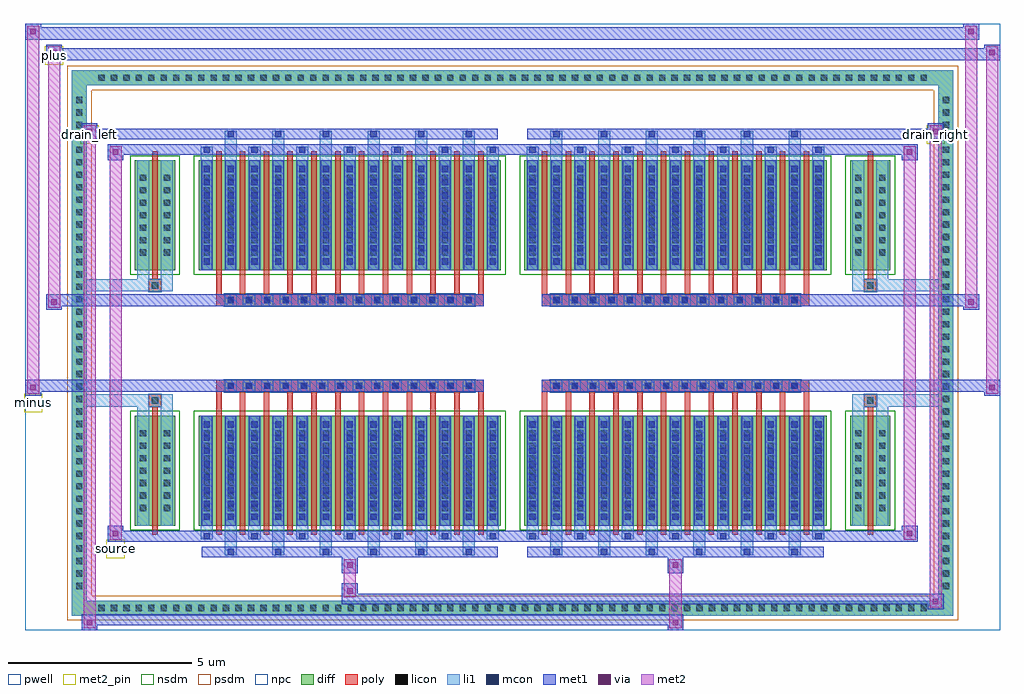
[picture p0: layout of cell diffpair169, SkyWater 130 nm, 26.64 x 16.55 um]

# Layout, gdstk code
import gdstk
lib = gdstk.Library(unit=1e-6, precision=5e-09)
def R(c, l, rs):  # rectangles x0, y0, x1, y1
    for r in rs: c.add(gdstk.rectangle(r[:2], r[2:], *l))
def A(c, l, x, y, w, h, nx, ny, dx, dy):  # array of equal rectangles
    R(c, l, [(x+i*dx, y+j*dy, x+i*dx+w, y+j*dy+h) for i in range(nx) for j in range(ny)])
def P(c, l, *ps):  # polygons
    for p in ps: c.add(gdstk.Polygon(p, *l))
pwell = (64, 44)
diff = (65, 20)
poly = (66, 20)
licon = (66, 44)
li1 = (67, 20)
mcon = (67, 44)
met1 = (68, 20)
via = (68, 44)
met2_pin = (69, 16)
met2 = (69, 20)
nsdm = (93, 44)
psdm = (94, 20)
npc = (95, 20)

diffpair169 = lib.new_cell('diffpair169')
R(diffpair169, pwell, [(-13.3,-7.84,13.3,8.71), (-10.62,-6.03,-0.01,-0.805), (0.01,-6.03,10.62,-0.805), (-10.62,0.805,-0.01,6.03), (0.01,0.805,10.62,6.03)])
A(diffpair169, diff, -11.425, -7.44, 0.41, 0.41, 67, 2, 0.34, 14.47)
A(diffpair169, diff, -12.03, -6.835, 0.41, 0.41, 1, 40, 0, 0.34)
A(diffpair169, diff, 11.62, -6.835, 0.41, 0.41, 1, 40, 0, 0.34)
R(diffpair169, diff, [(-11.425,-7.44,11.425,-7.03), (-12.03,-6.835,-11.62,6.835), (11.62,-6.835,12.03,6.835), (-10.31,-4.985,-9.21,-1.985), (-8.57,-4.985,-0.32,-1.985), (0.32,-4.985,8.57,-1.985), (9.21,-4.985,10.31,-1.985), (-10.31,1.985,-9.21,4.985), (-8.57,1.985,-0.32,4.985), (0.32,1.985,8.57,4.985), (9.21,1.985,10.31,4.985), (-11.425,7.03,11.425,7.44)])
P(diffpair169, diff, [(12.03,7.44),(-12.03,7.44),(-12.03,-7.03),(-11.62,-7.03),(-11.62,7.03),(11.62,7.03),(11.62,-7.03),(-11.62,-7.03),(-12.03,-7.03),(-12.03,-7.44),(12.03,-7.44)])
A(diffpair169, poly, -8.095, -5.235, 0.15, 3.5, 12, 2, 0.65, 6.97)
A(diffpair169, poly, 0.795, -5.235, 0.15, 3.5, 12, 2, 0.65, 6.97)
A(diffpair169, poly, -8.095, -1.735, 0.15, 0.4, 12, 2, 0.65, 3.07)
A(diffpair169, poly, 0.795, -1.735, 0.15, 0.4, 12, 2, 0.65, 3.07)
A(diffpair169, poly, -7.86, -1.335, 0.33, 0.33, 14, 2, 0.5, 2.34)
A(diffpair169, poly, 1.03, -1.335, 0.33, 0.33, 14, 2, 0.5, 2.34)
R(diffpair169, poly, [(-9.835,-5.235,-9.685,-1.735), (9.685,-5.235,9.835,-1.735), (-9.925,-1.735,-9.595,-1.405), (-9.925,-1.735,-9.595,-1.405), (9.595,-1.735,9.925,-1.405), (9.595,-1.735,9.925,-1.405), (-8.095,-1.335,-0.795,-1.005), (0.795,-1.335,8.095,-1.005), (-8.095,1.005,-0.795,1.335), (0.795,1.005,8.095,1.335), (-9.925,1.405,-9.595,1.735), (-9.925,1.405,-9.595,1.735), (9.595,1.405,9.925,1.735), (9.595,1.405,9.925,1.735), (-9.835,1.735,-9.685,5.235), (9.685,1.735,9.835,5.235)])
A(diffpair169, licon, -11.305, -7.32, 0.17, 0.17, 67, 2, 0.34, 14.47)
A(diffpair169, licon, -11.91, -6.715, 0.17, 0.17, 1, 40, 0, 0.34)
A(diffpair169, licon, 11.74, -6.715, 0.17, 0.17, 1, 40, 0, 0.34)
A(diffpair169, licon, -10.17, -4.59, 0.17, 0.17, 1, 7, 0, 0.34)
A(diffpair169, licon, -9.52, -4.59, 0.17, 0.17, 1, 7, 0, 0.34)
A(diffpair169, licon, -8.43, -4.59, 0.17, 0.17, 13, 7, 0.65, 0.34)
A(diffpair169, licon, 0.46, -4.59, 0.17, 0.17, 13, 7, 0.65, 0.34)
A(diffpair169, licon, 9.35, -4.59, 0.17, 0.17, 1, 7, 0, 0.34)
A(diffpair169, licon, 10, -4.59, 0.17, 0.17, 1, 7, 0, 0.34)
A(diffpair169, licon, -7.78, -1.255, 0.17, 0.17, 14, 2, 0.5, 2.34)
A(diffpair169, licon, 1.11, -1.255, 0.17, 0.17, 14, 2, 0.5, 2.34)
A(diffpair169, licon, -10.17, 2.38, 0.17, 0.17, 1, 7, 0, 0.34)
A(diffpair169, licon, -9.52, 2.38, 0.17, 0.17, 1, 7, 0, 0.34)
A(diffpair169, licon, -8.43, 2.38, 0.17, 0.17, 13, 7, 0.65, 0.34)
A(diffpair169, licon, 0.46, 2.38, 0.17, 0.17, 13, 7, 0.65, 0.34)
A(diffpair169, licon, 9.35, 2.38, 0.17, 0.17, 1, 7, 0, 0.34)
A(diffpair169, licon, 10, 2.38, 0.17, 0.17, 1, 7, 0, 0.34)
R(diffpair169, licon, [(-9.845,-1.655,-9.675,-1.485), (9.675,-1.655,9.845,-1.485), (-9.845,1.485,-9.675,1.655), (9.675,1.485,9.845,1.655)])
A(diffpair169, li1, -11.385, -7.4, 0.33, 0.33, 67, 2, 0.34, 14.47)
A(diffpair169, li1, -11.99, -6.795, 0.33, 0.33, 1, 40, 0, 0.34)
A(diffpair169, li1, 11.66, -6.795, 0.33, 0.33, 1, 40, 0, 0.34)
A(diffpair169, li1, -7.86, -5.79, 0.33, 0.805, 6, 2, 1.3, 10.775)
A(diffpair169, li1, -7.78, -5.79, 0.17, 0.17, 6, 2, 1.3, 11.41)
A(diffpair169, li1, 1.03, -5.79, 0.33, 0.805, 6, 2, 1.3, 10.775)
A(diffpair169, li1, 1.11, -5.79, 0.17, 0.17, 6, 2, 1.3, 11.41)
A(diffpair169, li1, -8.51, -5.36, 0.33, 0.375, 7, 2, 1.3, 10.345)
A(diffpair169, li1, -8.43, -5.36, 0.17, 0.17, 7, 2, 1.3, 10.55)
A(diffpair169, li1, 0.38, -5.36, 0.33, 0.375, 7, 2, 1.3, 10.345)
A(diffpair169, li1, 0.46, -5.36, 0.17, 0.17, 7, 2, 1.3, 10.55)
A(diffpair169, li1, -8.51, -4.985, 0.33, 3, 13, 2, 0.65, 6.97)
A(diffpair169, li1, 0.38, -4.985, 0.33, 3, 13, 2, 0.65, 6.97)
A(diffpair169, li1, -8.43, -4.83, 0.17, 0.17, 13, 8, 0.65, 0.36)
A(diffpair169, li1, -8.43, -4.83, 0.17, 2.69, 13, 2, 0.65, 6.97)
A(diffpair169, li1, 0.46, -4.83, 0.17, 0.17, 13, 8, 0.65, 0.36)
A(diffpair169, li1, 0.46, -4.83, 0.17, 2.69, 13, 2, 0.65, 6.97)
A(diffpair169, li1, -10.25, -4.67, 0.33, 0.33, 1, 7, 0, 0.34)
A(diffpair169, li1, -9.6, -4.67, 0.33, 0.33, 1, 7, 0, 0.34)
A(diffpair169, li1, -8.51, -4.67, 0.33, 0.33, 13, 7, 0.65, 0.34)
A(diffpair169, li1, 0.38, -4.67, 0.33, 0.33, 13, 7, 0.65, 0.34)
A(diffpair169, li1, 9.27, -4.67, 0.33, 0.33, 1, 7, 0, 0.34)
A(diffpair169, li1, 9.92, -4.67, 0.33, 0.33, 1, 7, 0, 0.34)
A(diffpair169, li1, -7.86, -1.335, 0.33, 0.33, 14, 2, 0.5, 2.34)
A(diffpair169, li1, 1.03, -1.335, 0.33, 0.33, 14, 2, 0.5, 2.34)
A(diffpair169, li1, -8.43, 2.14, 0.17, 0.17, 13, 8, 0.65, 0.36)
A(diffpair169, li1, 0.46, 2.14, 0.17, 0.17, 13, 8, 0.65, 0.36)
A(diffpair169, li1, -10.25, 2.3, 0.33, 0.33, 1, 7, 0, 0.34)
A(diffpair169, li1, -9.6, 2.3, 0.33, 0.33, 1, 7, 0, 0.34)
A(diffpair169, li1, -8.51, 2.3, 0.33, 0.33, 13, 7, 0.65, 0.34)
A(diffpair169, li1, 0.38, 2.3, 0.33, 0.33, 13, 7, 0.65, 0.34)
A(diffpair169, li1, 9.27, 2.3, 0.33, 0.33, 1, 7, 0, 0.34)
A(diffpair169, li1, 9.92, 2.3, 0.33, 0.33, 1, 7, 0, 0.34)
R(diffpair169, li1, [(-12.03,-7.44,-11.62,-7.03), (-12.03,-7.44,-11.62,-7.03), (-11.62,-7.44,11.62,-7.03), (11.62,-7.44,12.03,-7.03), (11.62,-7.44,12.03,-7.03), (-12.03,-7.03,-11.62,7.03), (11.62,-7.03,12.03,7.03), (-10.25,-4.985,-9.92,-1.985), (-9.6,-4.985,-9.27,-1.985), (9.27,-4.985,9.6,-1.985), (9.92,-4.985,10.25,-1.985), (-10.25,-1.985,-9.92,-1.405), (-9.6,-1.985,-9.27,-1.405), (9.27,-1.985,9.6,-1.405), (9.92,-1.985,10.25,-1.405), (-12.03,-1.735,-9.925,-1.405), (-10.25,-1.735,-9.925,-1.405), (-9.925,-1.735,-9.595,-1.405), (-9.595,-1.735,-9.27,-1.405), (9.27,-1.735,9.595,-1.405), (9.595,-1.735,9.925,-1.405), (9.595,-1.735,12.03,-1.405), (9.925,-1.735,10.25,-1.405), (-12.03,1.405,-9.925,1.735), (-10.25,1.405,-9.925,1.735), (-10.25,1.405,-9.92,1.985), (-9.925,1.405,-9.595,1.735), (-9.6,1.405,-9.27,1.985), (-9.595,1.405,-9.27,1.735), (9.27,1.405,9.595,1.735), (9.27,1.405,9.6,1.985), (9.595,1.405,9.925,1.735), (9.595,1.405,12.03,1.735), (9.92,1.405,10.25,1.985), (9.925,1.405,10.25,1.735), (-10.25,1.985,-9.92,4.985), (-9.6,1.985,-9.27,4.985), (9.27,1.985,9.6,4.985), (9.92,1.985,10.25,4.985), (-12.03,7.03,-11.62,7.44), (-12.03,7.03,-11.62,7.44), (-11.62,7.03,11.62,7.44), (11.62,7.03,12.03,7.44), (11.62,7.03,12.03,7.44)])
A(diffpair169, mcon, -7.78, -5.79, 0.17, 0.17, 6, 2, 1.3, 11.41)
A(diffpair169, mcon, 1.11, -5.79, 0.17, 0.17, 6, 2, 1.3, 11.41)
A(diffpair169, mcon, -8.43, -5.36, 0.17, 0.17, 7, 2, 1.3, 10.55)
A(diffpair169, mcon, 0.46, -5.36, 0.17, 0.17, 7, 2, 1.3, 10.55)
A(diffpair169, mcon, -8.43, -4.83, 0.17, 0.17, 13, 8, 0.65, 0.36)
A(diffpair169, mcon, 0.46, -4.83, 0.17, 0.17, 13, 8, 0.65, 0.36)
A(diffpair169, mcon, -7.78, -1.255, 0.17, 0.17, 14, 2, 0.5, 2.34)
A(diffpair169, mcon, 1.11, -1.255, 0.17, 0.17, 14, 2, 0.5, 2.34)
A(diffpair169, mcon, -8.43, 2.14, 0.17, 0.17, 13, 8, 0.65, 0.36)
A(diffpair169, mcon, 0.46, 2.14, 0.17, 0.17, 13, 8, 0.65, 0.36)
A(diffpair169, met1, -7.84, -5.85, 0.29, 0.29, 6, 2, 1.3, 11.41)
A(diffpair169, met1, 1.05, -5.85, 0.29, 0.29, 6, 2, 1.3, 11.41)
A(diffpair169, met1, -8.49, -5.42, 0.29, 0.29, 7, 2, 1.3, 10.55)
A(diffpair169, met1, 0.4, -5.42, 0.29, 0.29, 7, 2, 1.3, 10.55)
A(diffpair169, met1, -8.49, -4.985, 0.29, 3, 13, 2, 0.65, 6.97)
A(diffpair169, met1, 0.4, -4.985, 0.29, 3, 13, 2, 0.65, 6.97)
A(diffpair169, met1, -8.49, -4.89, 0.29, 0.29, 13, 8, 0.65, 0.36)
A(diffpair169, met1, 0.4, -4.89, 0.29, 0.29, 13, 8, 0.65, 0.36)
A(diffpair169, met1, -7.84, -1.315, 0.29, 0.29, 14, 2, 0.5, 2.34)
A(diffpair169, met1, 1.05, -1.315, 0.29, 0.29, 14, 2, 0.5, 2.34)
A(diffpair169, met1, -8.49, 2.08, 0.29, 0.29, 13, 8, 0.65, 0.36)
A(diffpair169, met1, 0.4, 2.08, 0.29, 0.29, 13, 8, 0.65, 0.36)
R(diffpair169, met1, [(-11.76,-7.84,-11.33,-7.41), (4.23,-7.84,4.66,-7.41), (-11.76,-7.7,4.66,-7.41), (11.33,-7.27,11.76,-6.84), (-4.66,-7.13,11.76,-6.84), (-4.66,-6.99,-4.23,-6.56), (-4.66,-6.28,-4.23,-5.85), (4.23,-6.28,4.66,-5.85), (-8.49,-5.85,-0.4,-5.56), (0.4,-5.85,8.49,-5.56), (-11.05,-5.42,-10.62,-4.99), (-11.05,-5.42,-8.49,-5.13), (-8.49,-5.42,-0.4,-5.13), (-0.4,-5.42,0.4,-5.13), (0.4,-5.42,8.49,-5.13), (8.49,-5.42,11.05,-5.13), (10.62,-5.42,11.05,-4.99), (-13.3,-1.435,-12.87,-1.005), (12.87,-1.435,13.3,-1.005), (-13.3,-1.335,-0.795,-1.005), (-8.095,-1.335,-0.795,-1.005), (0.795,-1.335,8.095,-1.005), (0.795,-1.335,13.3,-1.005), (-12.73,0.905,-12.3,1.335), (12.3,0.905,12.73,1.335), (-12.73,1.005,-8.095,1.335), (-8.095,1.005,-0.795,1.335), (0.795,1.005,8.095,1.335), (8.095,1.005,12.73,1.335), (-11.05,4.99,-10.62,5.42), (10.62,4.99,11.05,5.42), (-11.05,5.13,-8.49,5.42), (-8.49,5.13,-0.4,5.42), (-0.4,5.13,0.4,5.42), (0.4,5.13,8.49,5.42), (8.49,5.13,11.05,5.42), (-11.76,5.56,-11.33,5.99), (-11.76,5.56,-8.49,5.85), (-8.49,5.56,-0.4,5.85), (0.4,5.56,8.49,5.85), (8.49,5.56,11.76,5.85), (11.33,5.56,11.76,5.99), (-12.73,7.71,-12.3,8.14), (-12.73,7.71,-10.62,8.04), (-10.62,7.71,10.62,8.04), (10.62,7.71,13.3,8.04), (12.87,7.71,13.3,8.14), (-13.3,8.28,-12.87,8.71), (-13.3,8.28,-10.62,8.61), (-10.62,8.28,10.62,8.61), (10.62,8.28,12.73,8.61), (12.3,8.28,12.73,8.71)])
R(diffpair169, via, [(-11.62,-7.7,-11.47,-7.55), (4.37,-7.7,4.52,-7.55), (11.47,-7.13,11.62,-6.98), (-4.52,-6.85,-4.37,-6.7), (-4.52,-6.14,-4.37,-5.99), (4.37,-6.14,4.52,-5.99), (-10.91,-5.28,-10.76,-5.13), (10.76,-5.28,10.91,-5.13), (-13.16,-1.295,-13.01,-1.145), (13.01,-1.295,13.16,-1.145), (-12.59,1.045,-12.44,1.195), (12.44,1.045,12.59,1.195), (-10.91,5.13,-10.76,5.28), (10.76,5.13,10.91,5.28), (-11.62,5.7,-11.47,5.85), (11.47,5.7,11.62,5.85), (-12.59,7.85,-12.44,8), (13.01,7.85,13.16,8), (-13.16,8.42,-13.01,8.57), (12.44,8.42,12.59,8.57)])
R(diffpair169, met2_pin, [(-11.085,-5.87,-10.585,-5.37), (-13.335,-1.885,-12.835,-1.385), (-11.795,5.44,-11.295,5.94), (11.295,5.44,11.795,5.94), (-12.765,7.59,-12.265,8.09)])
R(diffpair169, met2, [(-11.71,-7.79,-11.38,-7.46), (-11.71,-7.79,-11.38,5.94), (4.28,-7.79,4.61,-7.46), (4.28,-7.46,4.61,-6.23), (11.38,-7.22,11.71,-6.89), (11.38,-7.22,11.71,5.94), (-4.61,-6.94,-4.28,-6.61), (-4.61,-6.61,-4.28,-6.23), (-4.61,-6.23,-4.28,-5.9), (4.28,-6.23,4.61,-5.9), (-11,-5.37,-10.67,-5.04), (-11,-5.37,-10.67,5.37), (10.67,-5.37,11,-5.04), (10.67,-5.37,11,5.37), (-13.25,-1.385,-12.92,-1.055), (-13.25,-1.385,-12.92,8.66), (12.92,-1.385,13.25,-1.055), (12.92,-1.385,13.25,8.09), (-12.68,0.955,-12.35,1.285), (-12.68,0.955,-12.35,8.09), (12.35,0.955,12.68,1.285), (12.35,0.955,12.68,8.66), (-11,5.04,-10.67,5.37), (10.67,5.04,11,5.37), (-11.71,5.61,-11.38,5.94), (11.38,5.61,11.71,5.94), (-12.68,7.76,-12.35,8.09), (12.92,7.76,13.25,8.09), (-13.25,8.33,-12.92,8.66), (12.35,8.33,12.68,8.66)])
P(diffpair169, met2, [(13.25,-1.385),(13.25,-1.385),(13.25,-1.055),(13.25,-1.055)],
  [(13.25,7.76),(13.25,7.76),(13.25,8.09),(13.25,8.09)],
  [(-12.92,-1.385),(-12.92,-1.385),(-12.92,-1.055),(-12.92,-1.055)],
  [(-12.92,8.33),(-12.92,8.33),(-12.92,8.66),(-12.92,8.66)],
  [(12.68,0.955),(12.68,0.955),(12.68,1.285),(12.68,1.285)],
  [(12.68,8.33),(12.68,8.33),(12.68,8.66),(12.68,8.66)],
  [(-12.35,0.955),(-12.35,0.955),(-12.35,1.285),(-12.35,1.285)],
  [(-12.35,7.76),(-12.35,7.76),(-12.35,8.09),(-12.35,8.09)],
  [(-11.38,-7.79),(-11.38,-7.79),(-11.38,-7.46),(-11.38,-7.46)],
  [(-11.38,5.61),(-11.38,5.61),(-11.38,5.94),(-11.38,5.94)],
  [(11.71,-7.22),(11.71,-7.22),(11.71,-6.89),(11.71,-6.89)],
  [(11.71,5.61),(11.71,5.61),(11.71,5.94),(11.71,5.94)],
  [(-10.67,-5.37),(-10.67,-5.37),(-10.67,-5.04),(-10.67,-5.04)],
  [(-10.67,5.04),(-10.67,5.04),(-10.67,5.37),(-10.67,5.37)],
  [(11,-5.37),(11,-5.37),(11,-5.04),(11,-5.04)],
  [(11,5.04),(11,5.04),(11,5.37),(11,5.37)])
R(diffpair169, nsdm, [(-10.44,-5.115,-9.08,-1.855), (-8.7,-5.115,-0.19,-1.855), (0.19,-5.115,8.7,-1.855), (9.08,-5.115,10.44,-1.855), (-10.44,1.855,-9.08,5.115), (-8.7,1.855,-0.19,5.115), (0.19,1.855,8.7,5.115), (9.08,1.855,10.44,5.115)])
P(diffpair169, psdm, [(12.16,7.57),(-12.16,7.57),(-12.16,-6.9),(-11.49,-6.9),(-11.49,6.9),(11.49,6.9),(11.49,-6.9),(-11.49,-6.9),(-12.16,-6.9),(-12.16,-7.57),(12.16,-7.57)])
A(diffpair169, npc, -7.88, -1.355, 0.37, 0.37, 14, 2, 0.5, 2.34)
A(diffpair169, npc, 1.01, -1.355, 0.37, 0.37, 14, 2, 0.5, 2.34)
R(diffpair169, npc, [(-9.945,-1.755,-9.575,-1.385), (9.575,-1.755,9.945,-1.385), (-7.88,-1.355,-7.01,-0.985), (-7.88,-1.355,-7.01,-0.985), (-7.38,-1.355,-6.51,-0.985), (-7.38,-1.355,-6.51,-0.985), (-6.88,-1.355,-6.01,-0.985), (-6.88,-1.355,-6.01,-0.985), (-6.38,-1.355,-5.51,-0.985), (-6.38,-1.355,-5.51,-0.985), (-5.88,-1.355,-5.01,-0.985), (-5.88,-1.355,-5.01,-0.985), (-5.38,-1.355,-4.51,-0.985), (-5.38,-1.355,-4.51,-0.985), (-4.88,-1.355,-4.01,-0.985), (-4.88,-1.355,-4.01,-0.985), (-4.38,-1.355,-3.51,-0.985), (-4.38,-1.355,-3.51,-0.985), (-3.88,-1.355,-3.01,-0.985), (-3.88,-1.355,-3.01,-0.985), (-3.38,-1.355,-2.51,-0.985), (-3.38,-1.355,-2.51,-0.985), (-2.88,-1.355,-2.01,-0.985), (-2.88,-1.355,-2.01,-0.985), (-2.38,-1.355,-1.51,-0.985), (-2.38,-1.355,-1.51,-0.985), (-1.88,-1.355,-1.01,-0.985), (-1.88,-1.355,-1.01,-0.985), (1.01,-1.355,1.88,-0.985), (1.01,-1.355,1.88,-0.985), (1.51,-1.355,2.38,-0.985), (1.51,-1.355,2.38,-0.985), (2.01,-1.355,2.88,-0.985), (2.01,-1.355,2.88,-0.985), (2.51,-1.355,3.38,-0.985), (2.51,-1.355,3.38,-0.985), (3.01,-1.355,3.88,-0.985), (3.01,-1.355,3.88,-0.985), (3.51,-1.355,4.38,-0.985), (3.51,-1.355,4.38,-0.985), (4.01,-1.355,4.88,-0.985), (4.01,-1.355,4.88,-0.985), (4.51,-1.355,5.38,-0.985), (4.51,-1.355,5.38,-0.985), (5.01,-1.355,5.88,-0.985), (5.01,-1.355,5.88,-0.985), (5.51,-1.355,6.38,-0.985), (5.51,-1.355,6.38,-0.985), (6.01,-1.355,6.88,-0.985), (6.01,-1.355,6.88,-0.985), (6.51,-1.355,7.38,-0.985), (6.51,-1.355,7.38,-0.985), (7.01,-1.355,7.88,-0.985), (7.01,-1.355,7.88,-0.985), (-7.88,0.985,-7.01,1.355), (-7.88,0.985,-7.01,1.355), (-7.38,0.985,-6.51,1.355), (-7.38,0.985,-6.51,1.355), (-6.88,0.985,-6.01,1.355), (-6.88,0.985,-6.01,1.355), (-6.38,0.985,-5.51,1.355), (-6.38,0.985,-5.51,1.355), (-5.88,0.985,-5.01,1.355), (-5.88,0.985,-5.01,1.355), (-5.38,0.985,-4.51,1.355), (-5.38,0.985,-4.51,1.355), (-4.88,0.985,-4.01,1.355), (-4.88,0.985,-4.01,1.355), (-4.38,0.985,-3.51,1.355), (-4.38,0.985,-3.51,1.355), (-3.88,0.985,-3.01,1.355), (-3.88,0.985,-3.01,1.355), (-3.38,0.985,-2.51,1.355), (-3.38,0.985,-2.51,1.355), (-2.88,0.985,-2.01,1.355), (-2.88,0.985,-2.01,1.355), (-2.38,0.985,-1.51,1.355), (-2.38,0.985,-1.51,1.355), (-1.88,0.985,-1.01,1.355), (-1.88,0.985,-1.01,1.355), (1.01,0.985,1.88,1.355), (1.01,0.985,1.88,1.355), (1.51,0.985,2.38,1.355), (1.51,0.985,2.38,1.355), (2.01,0.985,2.88,1.355), (2.01,0.985,2.88,1.355), (2.51,0.985,3.38,1.355), (2.51,0.985,3.38,1.355), (3.01,0.985,3.88,1.355), (3.01,0.985,3.88,1.355), (3.51,0.985,4.38,1.355), (3.51,0.985,4.38,1.355), (4.01,0.985,4.88,1.355), (4.01,0.985,4.88,1.355), (4.51,0.985,5.38,1.355), (4.51,0.985,5.38,1.355), (5.01,0.985,5.88,1.355), (5.01,0.985,5.88,1.355), (5.51,0.985,6.38,1.355), (5.51,0.985,6.38,1.355), (6.01,0.985,6.88,1.355), (6.01,0.985,6.88,1.355), (6.51,0.985,7.38,1.355), (6.51,0.985,7.38,1.355), (7.01,0.985,7.88,1.355), (7.01,0.985,7.88,1.355), (-9.945,1.385,-9.575,1.755), (9.575,1.385,9.945,1.755)])
diffpair169.add(gdstk.Label('minus', (-13.085,-1.635), layer=69, texttype=5))
diffpair169.add(gdstk.Label('drain_right', (11.545,5.69), layer=69, texttype=5))
diffpair169.add(gdstk.Label('drain_left', (-11.545,5.69), layer=69, texttype=5))
diffpair169.add(gdstk.Label('source', (-10.835,-5.62), layer=69, texttype=5))
diffpair169.add(gdstk.Label('plus', (-12.515,7.84), layer=69, texttype=5))

lib.write_gds('diffpair169.gds')
